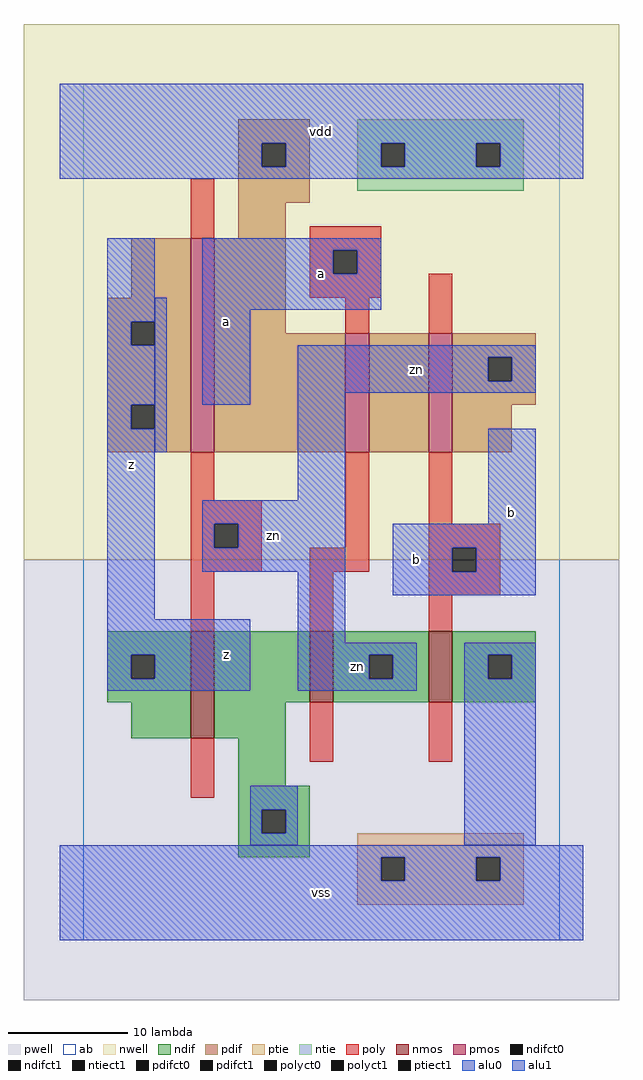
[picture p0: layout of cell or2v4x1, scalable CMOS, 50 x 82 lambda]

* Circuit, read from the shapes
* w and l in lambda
.subckt or2v4x1 a b vdd vss z zn
M1 vss zn z vss nfet w=9 l=2
M2 zn a vss vss nfet w=6 l=2
M3 vss b zn vss nfet w=6 l=2
M4 vdd zn z vdd pfet w=18 l=2
M5 n1 a vdd vdd pfet w=10 l=2
M6 zn b n1 vdd pfet w=10 l=2
.ends

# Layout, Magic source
magic
tech scmos
<< ab >>
rect 0 0 40 72
<< nwell >>
rect -5 32 45 77
<< pwell >>
rect -5 -5 45 32
<< poly >>
rect 9 59 11 64
rect 19 58 25 60
rect 19 56 21 58
rect 23 56 25 58
rect 19 54 25 56
rect 22 51 24 54
rect 29 51 31 56
rect 9 37 11 41
rect 9 35 15 37
rect 9 33 11 35
rect 13 33 15 35
rect 22 33 24 41
rect 9 31 15 33
rect 19 31 24 33
rect 29 35 31 41
rect 29 33 35 35
rect 29 31 31 33
rect 33 31 35 33
rect 9 26 11 31
rect 19 26 21 31
rect 29 29 35 31
rect 29 26 31 29
rect 9 12 11 17
rect 19 15 21 20
rect 29 15 31 20
<< ndif >>
rect 2 24 9 26
rect 2 22 4 24
rect 6 22 9 24
rect 2 20 9 22
rect 4 17 9 20
rect 11 20 19 26
rect 21 24 29 26
rect 21 22 24 24
rect 26 22 29 24
rect 21 20 29 22
rect 31 24 38 26
rect 31 22 34 24
rect 36 22 38 24
rect 31 20 38 22
rect 11 17 17 20
rect 13 13 17 17
rect 13 11 19 13
rect 13 9 15 11
rect 17 9 19 11
rect 13 7 19 9
<< pdif >>
rect 13 67 19 69
rect 13 65 15 67
rect 17 65 19 67
rect 13 62 19 65
rect 13 59 17 62
rect 4 54 9 59
rect 2 52 9 54
rect 2 50 4 52
rect 6 50 9 52
rect 2 45 9 50
rect 2 43 4 45
rect 6 43 9 45
rect 2 41 9 43
rect 11 51 17 59
rect 11 41 22 51
rect 24 41 29 51
rect 31 49 38 51
rect 31 47 34 49
rect 36 47 38 49
rect 31 45 38 47
rect 31 41 36 45
<< alu1 >>
rect -2 67 42 72
rect -2 65 15 67
rect 17 65 25 67
rect 27 65 33 67
rect 35 65 42 67
rect -2 64 42 65
rect 2 52 6 59
rect 10 58 25 59
rect 10 56 21 58
rect 23 56 25 58
rect 2 50 4 52
rect 2 45 6 50
rect 2 43 4 45
rect 2 27 6 43
rect 10 53 25 56
rect 10 45 14 53
rect 34 35 38 43
rect 2 24 14 27
rect 2 22 4 24
rect 6 22 14 24
rect 2 21 14 22
rect 26 33 38 35
rect 26 31 31 33
rect 33 31 38 33
rect 26 29 38 31
rect -2 7 42 8
rect -2 5 25 7
rect 27 5 33 7
rect 35 5 42 7
rect -2 0 42 5
<< ptie >>
rect 23 7 37 9
rect 23 5 25 7
rect 27 5 33 7
rect 35 5 37 7
rect 23 3 37 5
<< ntie >>
rect 23 67 37 69
rect 23 65 25 67
rect 27 65 33 67
rect 35 65 37 67
rect 23 63 37 65
<< nmos >>
rect 9 17 11 26
rect 19 20 21 26
rect 29 20 31 26
<< pmos >>
rect 9 41 11 59
rect 22 41 24 51
rect 29 41 31 51
<< polyct0 >>
rect 11 33 13 35
<< polyct1 >>
rect 21 56 23 58
rect 31 31 33 33
<< ndifct0 >>
rect 24 22 26 24
rect 34 22 36 24
rect 15 9 17 11
<< ndifct1 >>
rect 4 22 6 24
<< ntiect1 >>
rect 25 65 27 67
rect 33 65 35 67
<< ptiect1 >>
rect 25 5 27 7
rect 33 5 35 7
<< pdifct0 >>
rect 34 47 36 49
<< pdifct1 >>
rect 15 65 17 67
rect 4 50 6 52
rect 4 43 6 45
<< alu0 >>
rect 6 41 7 54
rect 18 49 38 50
rect 18 47 34 49
rect 36 47 38 49
rect 18 46 38 47
rect 18 37 22 46
rect 10 35 22 37
rect 10 33 11 35
rect 13 33 22 35
rect 10 31 22 33
rect 18 25 22 31
rect 18 24 28 25
rect 18 22 24 24
rect 26 22 28 24
rect 18 21 28 22
rect 32 24 38 25
rect 32 22 34 24
rect 36 22 38 24
rect 14 11 18 13
rect 14 9 15 11
rect 17 9 18 11
rect 14 8 18 9
rect 32 8 38 22
<< labels >>
rlabel alu0 16 34 16 34 6 zn
rlabel alu0 23 23 23 23 6 zn
rlabel alu0 28 48 28 48 6 zn
rlabel alu1 4 40 4 40 6 z
rlabel alu1 12 24 12 24 6 z
rlabel alu1 12 52 12 52 6 a
rlabel alu1 20 4 20 4 6 vss
rlabel alu1 28 32 28 32 6 b
rlabel alu1 20 56 20 56 6 a
rlabel alu1 20 68 20 68 6 vdd
rlabel alu1 36 36 36 36 6 b
<< end >>
